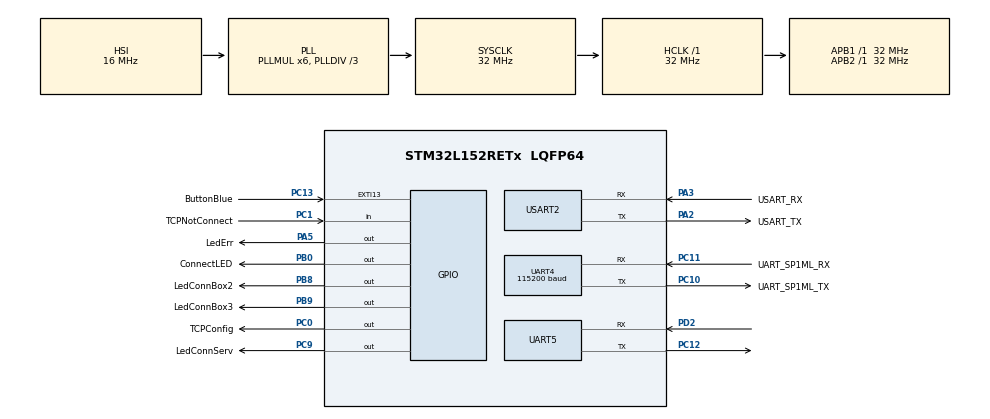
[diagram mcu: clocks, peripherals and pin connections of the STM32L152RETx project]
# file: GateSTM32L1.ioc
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Dma.Request0=UART5_RX
Dma.Request1=UART4_RX
Dma.UART4_RX.1.Direction=DMA_PERIPH_TO_MEMORY
Dma.UART4_RX.1.Instance=DMA2_Channel3
Dma.UART4_RX.1.MemDataAlignment=DMA_MDATAALIGN_BYTE
Dma.UART4_RX.1.MemInc=DMA_MINC_ENABLE
Dma.UART4_RX.1.Mode=DMA_CIRCULAR
Dma.UART4_RX.1.PeriphDataAlignment=DMA_PDATAALIGN_BYTE
Dma.UART4_RX.1.PeriphInc=DMA_PINC_DISABLE
Dma.UART4_RX.1.Priority=DMA_PRIORITY_LOW
Dma.UART5_RX.0.Direction=DMA_PERIPH_TO_MEMORY
Dma.UART5_RX.0.Instance=DMA2_Channel2
Dma.UART5_RX.0.MemDataAlignment=DMA_MDATAALIGN_BYTE
Dma.UART5_RX.0.MemInc=DMA_MINC_ENABLE
Dma.UART5_RX.0.Mode=DMA_NORMAL
Dma.UART5_RX.0.PeriphDataAlignment=DMA_PDATAALIGN_BYTE
Dma.UART5_RX.0.PeriphInc=DMA_PINC_DISABLE
Dma.UART5_RX.0.Priority=DMA_PRIORITY_MEDIUM
Mcu.Family=STM32L1
Mcu.Name=STM32L152RETx
Mcu.Package=LQFP64
NVIC.DMA2_Channel2_IRQn=true\:0\:0\:false\:false\:true
NVIC.DMA2_Channel3_IRQn=true\:0\:0\:false\:false\:true
NVIC.EXTI15_10_IRQn=true\:0\:0\:false\:false\:true
NVIC.PriorityGroup=NVIC_PRIORITYGROUP_4
NVIC.UART4_IRQn=true\:0\:0\:false\:false\:true
NVIC.UART5_IRQn=true\:0\:0\:false\:false\:true
PA13.GPIO_Label=TMS
PA13.Signal=SYS_JTMS-SWDIO
PA14.GPIO_Label=TCK
PA14.Signal=SYS_JTCK-SWCLK
PA2.GPIO_Label=USART_TX
PA2.Mode=Asynchronous
PA2.Signal=USART2_TX
PA3.GPIO_Label=USART_RX
PA3.Mode=Asynchronous
PA3.Signal=USART2_RX
PA5.GPIO_Label=LedErr
PA5.Signal=GPIO_Output
PB0.GPIO_Label=ConnectLED
PB0.Signal=GPIO_Output
PB3.GPIO_Label=SWO
PB3.Signal=SYS_JTDO-TRACESWO
PB8.GPIO_Label=LedConnBox2
PB8.Signal=GPIO_Output
PB9.GPIO_Label=LedConnBox3
PB9.Signal=GPIO_Output
PC0.GPIO_Label=TCPConfig
PC0.GPIO_PuPd=GPIO_PULLDOWN
PC0.Signal=GPIO_Output
PC1.GPIO_Label=TCPNotConnect
PC1.Signal=GPIO_Input
PC10.GPIO_Label=UART_SP1ML_TX
PC10.Mode=Asynchronous
PC10.Signal=UART4_TX
PC11.GPIO_Label=UART_SP1ML_RX
PC11.Mode=Asynchronous
PC11.Signal=UART4_RX
PC12.Mode=Asynchronous
PC12.Signal=UART5_TX
PC13-WKUP2.GPIO_Label=ButtonBlue
PC13-WKUP2.Signal=GPXTI13
PC14-OSC32_IN.Signal=RCC_OSC32_IN
PC15-OSC32_OUT.Signal=RCC_OSC32_OUT
PC9.GPIO_Label=LedConnServ
PC9.Signal=GPIO_Output
PD2.Mode=Asynchronous
PD2.Signal=UART5_RX
PH0-OSC_IN.Signal=RCC_OSC_IN
PH1-OSC_OUT.Signal=RCC_OSC_OUT
ProjectManager.HeapSize=0x200
ProjectManager.StackSize=0x400
ProjectManager.TargetToolchain=SW4STM32
RCC.AHBFreq_Value=32000000
RCC.APB1Freq_Value=32000000
RCC.APB1TimFreq_Value=32000000
RCC.APB2Freq_Value=32000000
RCC.APB2TimFreq_Value=32000000
RCC.HCLKFreq_Value=32000000
RCC.HSE_VALUE=8000000
RCC.HSI_VALUE=16000000
RCC.LSE_VALUE=32768
RCC.MSI_VALUE=2097000
RCC.PLLDIV=RCC_PLL_DIV3
RCC.PLLMUL=RCC_PLL_MUL6
RCC.PLLSourceVirtual=RCC_PLLSOURCE_HSI
RCC.RTCClockSelectionVirtual=RCC_RTCCLKSOURCE_LSE
RCC.SYSCLKFreq_VALUE=32000000
RCC.SYSCLKSource=RCC_SYSCLKSOURCE_PLLCLK
RCC.USBOutput=48000000
RCC.VCOOutputFreq_Value=96000000
UART4.BaudRate=115200
UART4.VirtualMode=Asynchronous
UART5.VirtualMode=Asynchronous
USART2.VirtualMode=VM_ASYNC
VP_CRC_VS_CRC.Mode=CRC_Activate
board=NUCLEO-L152RE

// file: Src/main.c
/**
 ******************************************************************************
 * File Name          : main.c
 * Description        : Main program body
 ******************************************************************************
 ** This notice applies to any and all portions of this file
 * that are not between comment pairs USER CODE BEGIN and
 * USER CODE END. Other portions of this file, whether
 * inserted by the user or by software development tools
 * are owned by their respective copyright owners.
 *
 * COPYRIGHT(c) 2017 STMicroelectronics
 *
 * Redistribution and use in source and binary forms, with or without modification,
 * are permitted provided that the following conditions are met:
 *   1. Redistributions of source code must retain the above copyright notice,
 *      this list of conditions and the following disclaimer.
 *   2. Redistributions in binary form must reproduce the above copyright notice,
 *      this list of conditions and the following disclaimer in the documentation
 *      and/or other materials provided with the distribution.
 *   3. Neither the name of STMicroelectronics nor the names of its contributors
 *      may be used to endorse or promote products derived from this software
 *      without specific prior written permission.
 *
 * THIS SOFTWARE IS PROVIDED BY THE COPYRIGHT HOLDERS AND CONTRIBUTORS "AS IS"
 * AND ANY EXPRESS OR IMPLIED WARRANTIES, INCLUDING, BUT NOT LIMITED TO, THE
 * IMPLIED WARRANTIES OF MERCHANTABILITY AND FITNESS FOR A PARTICULAR PURPOSE ARE
 * DISCLAIMED. IN NO EVENT SHALL THE COPYRIGHT HOLDER OR CONTRIBUTORS BE LIABLE
 * FOR ANY DIRECT, INDIRECT, INCIDENTAL, SPECIAL, EXEMPLARY, OR CONSEQUENTIAL
 * DAMAGES (INCLUDING, BUT NOT LIMITED TO, PROCUREMENT OF SUBSTITUTE GOODS OR
 * SERVICES; LOSS OF USE, DATA, OR PROFITS; OR BUSINESS INTERRUPTION) HOWEVER
 * CAUSED AND ON ANY THEORY OF LIABILITY, WHETHER IN CONTRACT, STRICT LIABILITY,
 * OR TORT (INCLUDING NEGLIGENCE OR OTHERWISE) ARISING IN ANY WAY OUT OF THE USE
 * OF THIS SOFTWARE, EVEN IF ADVISED OF THE POSSIBILITY OF SUCH DAMAGE.
 *
 ******************************************************************************
 */
#include "main.h"
#include "stm32l1xx_hal.h"

/* USER CODE BEGIN Includes */
#include "stm32l1xx_hal_uart.h"
#include "config.h"
#include "tcp_connector.h"
#include "transceiver.h"
#include "xprint.h"
#include "package_queue.h"
#include <assert.h>
#include "trans_package.h"
/* USER CODE END Includes */

CRC_HandleTypeDef hcrc;

UART_HandleTypeDef huart4;
UART_HandleTypeDef huart5;
UART_HandleTypeDef huart2;
DMA_HandleTypeDef hdma_uart4_rx;
DMA_HandleTypeDef hdma_uart5_rx;
#define BOX_CONNECTION_INTERVAL 5000
static uint32_t box2ConnTick = 0;
static uint32_t box3ConnTick = 0;

/* USER CODE BEGIN PV */
/* Private variables ---------------------------------------------------------*/

/* USER CODE END PV */

void SystemClock_Config(void);
static void MX_GPIO_Init(void);
static void MX_DMA_Init(void);
static void MX_UART4_Init(void);
static void MX_UART5_Init(void);
static void MX_USART2_UART_Init(void);
static void MX_CRC_Init(void);

/* USER CODE BEGIN PFP */
/* Private function prototypes -----------------------------------------------*/

/* USER CODE END PFP */

int main(void) {

	/* USER CODE BEGIN 1 */
	//
	/* USER CODE END 1 */

	/* MCU Configuration----------------------------------------------------------*/

	/* Reset of all peripherals, Initializes the Flash interface and the Systick. */
	HAL_Init();

	/* Configure the system clock */
	SystemClock_Config();

	/* Initialize all configured peripherals */
	MX_GPIO_Init();
	MX_DMA_Init();
	MX_UART4_Init();
	MX_UART5_Init();
	MX_USART2_UART_Init();
	MX_CRC_Init();

	/* USER CODE BEGIN 2 */
#if X_PRINT_LOG
	//	xprint_init_SWO();
	xprint_init_UART(&huart2);
	LOG("Start Gate ID: 0x%x DEVID:0x%x REVID:0x%x HAL:0x%x", CONFIG_ID, HAL_GetDEVID(), HAL_GetREVID(), HAL_GetHalVersion());
#endif

#if TEST
	SP1MLTest();
#endif
	PACK_Init(&hcrc);
	TRANSConfig conf = {
		.hUART = &huart4,
		.localAddress = CONFIG_LOCAL_ADDRESS,
	};
	TRANS_Init(conf);
	//использую одинаковый порт для TCPNotConnect и TCPConfig
	TCPConfig config = {
		.hUART = &huart5,
		.port = TCPConfig_GPIO_Port,
		.pinConfig = TCPConfig_Pin,
		.pinNotConnect = TCPNotConnect_Pin
	};
	TCP_Init(config);

	/* USER CODE END 2 */

	/* Infinite loop */
	/* USER CODE BEGIN WHILE */
	//HAL_StatusTypeDef rStatus = HAL_UART_Receive_IT(&huart4, receiveData, UART_DT_SIZE);
	while (1) {
		if (TCP_IsConnect() != HAL_GPIO_ReadPin(ConnectLED_GPIO_Port, ConnectLED_Pin)) {
			if (TCP_IsConnect()) {
				LOG("Connect server");
			} else {
				LOG("Disconnect server");
			}
		}
		HAL_GPIO_WritePin(ConnectLED_GPIO_Port, ConnectLED_Pin, TCP_IsConnect());
		HAL_GPIO_WritePin(LedConnServ_GPIO_Port, LedConnServ_Pin, TCP_IsConnect());

		uint32_t tick=HAL_GetTick();
		bool box2Connect=(tick-box2ConnTick)<BOX_CONNECTION_INTERVAL;
		bool box3Connect=(tick-box3ConnTick)<BOX_CONNECTION_INTERVAL;

		HAL_GPIO_WritePin(LedConnBox2_GPIO_Port, LedConnBox2_Pin, box2Connect);
		HAL_GPIO_WritePin(LedConnBox3_GPIO_Port, LedConnBox3_Pin, box3Connect);

		TCP_ProcessPackage();
		TRANS_ProcessPackage();
		/* USER CODE END WHILE */

	}

}

/** System Clock Configuration
 */
void SystemClock_Config(void) {

	RCC_OscInitTypeDef RCC_OscInitStruct;
	RCC_ClkInitTypeDef RCC_ClkInitStruct;

	/**Configure the main internal regulator output voltage
	 */
	__HAL_PWR_VOLTAGESCALING_CONFIG(PWR_REGULATOR_VOLTAGE_SCALE1);

	/**Initializes the CPU, AHB and APB busses clocks
	 */
	RCC_OscInitStruct.OscillatorType = RCC_OSCILLATORTYPE_HSI;
	RCC_OscInitStruct.HSIState = RCC_HSI_ON;
	RCC_OscInitStruct.HSICalibrationValue = 16;
	RCC_OscInitStruct.PLL.PLLState = RCC_PLL_ON;
	RCC_OscInitStruct.PLL.PLLSource = RCC_PLLSOURCE_HSI;
	RCC_OscInitStruct.PLL.PLLMUL = RCC_PLL_MUL6;
	RCC_OscInitStruct.PLL.PLLDIV = RCC_PLL_DIV3;
	if (HAL_RCC_OscConfig(&RCC_OscInitStruct) != HAL_OK) {
		_Error_Handler(__FILE__, __LINE__);
	}

	/**Initializes the CPU, AHB and APB busses clocks
	 */
	RCC_ClkInitStruct.ClockType = RCC_CLOCKTYPE_HCLK | RCC_CLOCKTYPE_SYSCLK
			| RCC_CLOCKTYPE_PCLK1 | RCC_CLOCKTYPE_PCLK2;
	RCC_ClkInitStruct.SYSCLKSource = RCC_SYSCLKSOURCE_PLLCLK;
	RCC_ClkInitStruct.AHBCLKDivider = RCC_SYSCLK_DIV1;
	RCC_ClkInitStruct.APB1CLKDivider = RCC_HCLK_DIV1;
	RCC_ClkInitStruct.APB2CLKDivider = RCC_HCLK_DIV1;

	if (HAL_RCC_ClockConfig(&RCC_ClkInitStruct, FLASH_LATENCY_1) != HAL_OK) {
		_Error_Handler(__FILE__, __LINE__);
	}

	/**Configure the Systick interrupt time
	 */
	HAL_SYSTICK_Config(HAL_RCC_GetHCLKFreq() / 1000);

	/**Configure the Systick
	 */
	HAL_SYSTICK_CLKSourceConfig(SYSTICK_CLKSOURCE_HCLK);

	/* SysTick_IRQn interrupt configuration */
	HAL_NVIC_SetPriority(SysTick_IRQn, 0, 0);
}

/* CRC init function */
static void MX_CRC_Init(void) {

	hcrc.Instance = CRC;
	if (HAL_CRC_Init(&hcrc) != HAL_OK) {
		_Error_Handler(__FILE__, __LINE__);
	}

}

/* UART4 init function */
static void MX_UART4_Init(void) {

	huart4.Instance = UART4;
	huart4.Init.BaudRate = 115200;
	huart4.Init.WordLength = UART_WORDLENGTH_8B;
	huart4.Init.StopBits = UART_STOPBITS_1;
	huart4.Init.Parity = UART_PARITY_NONE;
	huart4.Init.Mode = UART_MODE_TX_RX;
	huart4.Init.HwFlowCtl = UART_HWCONTROL_NONE;
	huart4.Init.OverSampling = UART_OVERSAMPLING_16;
	if (HAL_UART_Init(&huart4) != HAL_OK) {
		_Error_Handler(__FILE__, __LINE__);
	}

}

/* UART5 init function */
static void MX_UART5_Init(void) {

	huart5.Instance = UART5;
	huart5.Init.BaudRate = 115200;
	huart5.Init.WordLength = UART_WORDLENGTH_8B;
	huart5.Init.StopBits = UART_STOPBITS_1;
	huart5.Init.Parity = UART_PARITY_NONE;
	huart5.Init.Mode = UART_MODE_TX_RX;
	huart5.Init.HwFlowCtl = UART_HWCONTROL_NONE;
	huart5.Init.OverSampling = UART_OVERSAMPLING_16;
	if (HAL_UART_Init(&huart5) != HAL_OK) {
		_Error_Handler(__FILE__, __LINE__);
	}

}

/* USART2 init function */
static void MX_USART2_UART_Init(void) {

	huart2.Instance = USART2;
	huart2.Init.BaudRate = 115200;
	huart2.Init.WordLength = UART_WORDLENGTH_8B;
	huart2.Init.StopBits = UART_STOPBITS_1;
	huart2.Init.Parity = UART_PARITY_NONE;
	huart2.Init.Mode = UART_MODE_TX_RX;
	huart2.Init.HwFlowCtl = UART_HWCONTROL_NONE;
	huart2.Init.OverSampling = UART_OVERSAMPLING_16;
	if (HAL_UART_Init(&huart2) != HAL_OK) {
		_Error_Handler(__FILE__, __LINE__);
	}

}

static void MX_DMA_Init(void) {
	/* DMA controller clock enable */
	__HAL_RCC_DMA2_CLK_ENABLE();

	/* DMA interrupt init */
	/* DMA2_Channel2_IRQn interrupt configuration */
	HAL_NVIC_SetPriority(DMA2_Channel2_IRQn, 0, 0);
	HAL_NVIC_EnableIRQ(DMA2_Channel2_IRQn);
	/* DMA2_Channel3_IRQn interrupt configuration */
	HAL_NVIC_SetPriority(DMA2_Channel3_IRQn, 0, 0);
	HAL_NVIC_EnableIRQ(DMA2_Channel3_IRQn);

}

/** Configure pins as
 * Analog
 * Input
 * Output
 * EVENT_OUT
 * EXTI
 */
static void MX_GPIO_Init(void) {

	GPIO_InitTypeDef GPIO_InitStruct;

	/* GPIO Ports Clock Enable */
	__HAL_RCC_GPIOC_CLK_ENABLE();
	__HAL_RCC_GPIOH_CLK_ENABLE();
	__HAL_RCC_GPIOA_CLK_ENABLE();
	__HAL_RCC_GPIOB_CLK_ENABLE();
	__HAL_RCC_GPIOD_CLK_ENABLE();

	/*Configure GPIO pin Output Level */
	HAL_GPIO_WritePin(GPIOC, TCPConfig_Pin | LedConnServ_Pin, GPIO_PIN_RESET);

	/*Configure GPIO pin Output Level */
	HAL_GPIO_WritePin(LedErr_GPIO_Port, LedErr_Pin, GPIO_PIN_RESET);

	/*Configure GPIO pin Output Level */
	HAL_GPIO_WritePin(GPIOB, ConnectLED_Pin | LedConnBox2_Pin | LedConnBox3_Pin, GPIO_PIN_RESET);

	/*Configure GPIO pin : ButtonBlue_Pin */
	GPIO_InitStruct.Pin = ButtonBlue_Pin;
	GPIO_InitStruct.Mode = GPIO_MODE_IT_RISING;
	GPIO_InitStruct.Pull = GPIO_NOPULL;
	HAL_GPIO_Init(ButtonBlue_GPIO_Port, &GPIO_InitStruct);

	/*Configure GPIO pin : TCPConfig_Pin */
	GPIO_InitStruct.Pin = TCPConfig_Pin;
	GPIO_InitStruct.Mode = GPIO_MODE_OUTPUT_PP;
	GPIO_InitStruct.Pull = GPIO_PULLDOWN;
	GPIO_InitStruct.Speed = GPIO_SPEED_FREQ_LOW;
	HAL_GPIO_Init(TCPConfig_GPIO_Port, &GPIO_InitStruct);

	/*Configure GPIO pin : TCPNotConnect_Pin */
	GPIO_InitStruct.Pin = TCPNotConnect_Pin;
	GPIO_InitStruct.Mode = GPIO_MODE_INPUT;
	GPIO_InitStruct.Pull = GPIO_NOPULL;
	HAL_GPIO_Init(TCPNotConnect_GPIO_Port, &GPIO_InitStruct);

	/*Configure GPIO pin : LedErr_Pin */
	GPIO_InitStruct.Pin = LedErr_Pin;
	GPIO_InitStruct.Mode = GPIO_MODE_OUTPUT_PP;
	GPIO_InitStruct.Pull = GPIO_NOPULL;
	GPIO_InitStruct.Speed = GPIO_SPEED_FREQ_LOW;
	HAL_GPIO_Init(LedErr_GPIO_Port, &GPIO_InitStruct);

	/*Configure GPIO pins : ConnectLED_Pin LedConnBox2_Pin LedConnBox3_Pin */
	GPIO_InitStruct.Pin = ConnectLED_Pin | LedConnBox2_Pin | LedConnBox3_Pin;
	GPIO_InitStruct.Mode = GPIO_MODE_OUTPUT_PP;
	GPIO_InitStruct.Pull = GPIO_NOPULL;
	GPIO_InitStruct.Speed = GPIO_SPEED_FREQ_LOW;
	HAL_GPIO_Init(GPIOB, &GPIO_InitStruct);

	/*Configure GPIO pin : LedConnServ_Pin */
	GPIO_InitStruct.Pin = LedConnServ_Pin;
	GPIO_InitStruct.Mode = GPIO_MODE_OUTPUT_PP;
	GPIO_InitStruct.Pull = GPIO_NOPULL;
	GPIO_InitStruct.Speed = GPIO_SPEED_FREQ_LOW;
	HAL_GPIO_Init(LedConnServ_GPIO_Port, &GPIO_InitStruct);

	/* EXTI interrupt init*/
	HAL_NVIC_SetPriority(EXTI15_10_IRQn, 0, 0);
	HAL_NVIC_EnableIRQ(EXTI15_10_IRQn);

}

/* USER CODE BEGIN 4 */

void HAL_UART_RxCpltCallback(UART_HandleTypeDef* huart) {
	TCP_UART_RxCpltCallback(huart);
	TRANS_UART_RxCpltCallback(huart);
}

void HAL_UART_RxHalfCpltCallback(UART_HandleTypeDef* huart) {
	TRANS_UART_RxHalfCpltCallback(huart);
}

void TRANS_OnProcessPackage(TRANSPackage *pPackage) {
	//	LOG("TRANS: ProcessPackage: type:%d source:0x%x target:0x%x", pPackage->type, pPackage->sourceAddress, pPackage->targetAddress);

	if (pPackage->sourceAddress == 2) {
		box2ConnTick = HAL_GetTick();
	}
	if (pPackage->sourceAddress == 3) {
		box3ConnTick = HAL_GetTick();
	}
	TCP_SendTransPackage(pPackage);
}

void TCP_OnProcessPackage(TRANSPackage* pPackage) {
	//	LOG("TCP: ProcessPackage: type:%d source:0x%x target:0x%x", pPackage->type, pPackage->sourceAddress, pPackage->targetAddress);
	TRANS_SendPackage(pPackage);
}

void HAL_GPIO_EXTI_Callback(uint16_t GPIO_Pin) {

	if (GPIO_Pin == ButtonBlue_Pin) {
		HAL_GPIO_TogglePin(LedErr_GPIO_Port, LedErr_Pin);
		LOG("Toggle error led");

		TRANSStatus status = TRANS_GetStatus();
		LOG("TRANSStatus: good:%d bad:%d", status.countGoodPackage, status.countBadPackage);
	}
}

void inline LedErrorSet() {
	HAL_GPIO_WritePin(LedErr_GPIO_Port, LedErr_Pin, GPIO_PIN_SET);
}

void inline LedErrorSoftWhile() {
	while (1) {
		HAL_GPIO_TogglePin(LedErr_GPIO_Port, LedErr_Pin);
		HAL_Delay(2000);
	}
}

void inline LedErrorHardWhile() {
	while (1) {
		HAL_GPIO_TogglePin(LedErr_GPIO_Port, LedErr_Pin);
		HAL_Delay(500);
	}
}

void TRANS_OnError(TRANSStatus status) {
	LOGERR("TRANS Error: "
			"lastError:0x%x "
			"lastTransmitStatus:0x%x "
			//"overflowQueueCount:%d",
			"countGoodPackage:%d "
			"countBadPackage:%d",
			status.lastError,
			status.lastTransmitStatus,
			//status.overflowQueueCount
			status.countGoodPackage,
			status.countBadPackage
			);
	LedErrorSet();
}

void TCP_OnError(TCPStatus status) {
	LOGERR("TCP Error: "
			"lastError:0x%x "
			"uartState:0x%x "
			"lastReceiveStatus:0x%x "
			"lastTransmitStatus:0x%x "
			"overflowQueueCount:%d",
			status.lastError,
			status.uartState,
			status.lastReceiveStatus,
			status.lastTransmitStatus,
			status.overflowQueueCount);
	LedErrorSet();
}

void HAL_UART_ErrorCallback(UART_HandleTypeDef* huart) {
	uint32_t uartErrorCode = HAL_UART_GetError(huart);
	LOGERR("UART %x Error %x", huart->Instance, uartErrorCode);
	LedErrorSet();
	//UART4 0x40004C00 SP1ML
	//UART5 0x40005000 TCP
	// see HAL_UART_ERROR_
}
/* USER CODE END 4 */

void _Error_Handler(char * file, int line) {
	/* USER CODE BEGIN Error_Handler_Debug */
	LOGERR("HAL Error_Handler %s:%d", file, line);
	LedErrorSoftWhile();
	/* User can add his own implementation to report the HAL error return state */
	while (1) {
	}
	/* USER CODE END Error_Handler_Debug */
}

#ifdef USE_FULL_ASSERT

/**
 * @brief Reports the name of the source file and the source line number
 * where the assert_param error has occurred.
 * @param file: pointer to the source file name
 * @param line: assert_param error line source number
 * @retval None
 */
void assert_failed(uint8_t* file, uint32_t line) {
	/* USER CODE BEGIN 6 */
	/* User can add his own implementation to report the file name and line number,
	  ex: printf("Wrong parameters value: file %s on line %d\r\n", file, line) */
	LOG("assert_failed: Wrong parameters value: file %s on line %d\r\n", file, line);
	LedErrorSoftWhile();
	/* USER CODE END 6 */

}

#endif

/************************ (C) COPYRIGHT STMicroelectronics *****END OF FILE****/
